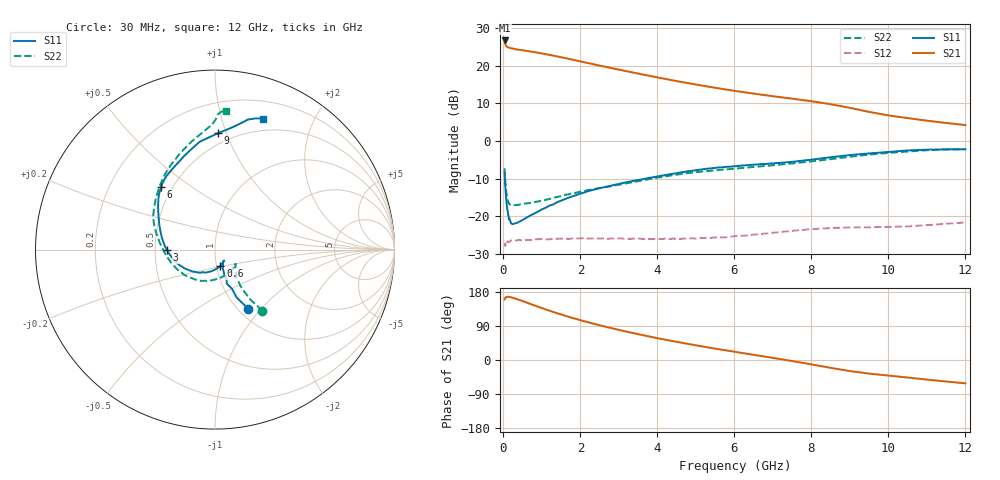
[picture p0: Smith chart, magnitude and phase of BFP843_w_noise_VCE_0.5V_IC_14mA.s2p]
! Infineon Technologies  Discrete & RF Semiconductors
! BFP843
! VCE =  0.5 V,  IC =  14 mA
! Common Emitter S-Parameters:  Aug 2013
# GHz  S  MA  R  50
!  f  S11  S21  S12  S22
! GHz  MAG  ANG  MAG  ANG  MAG  ANG  MAG  ANG
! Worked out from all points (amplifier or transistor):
!   103 points, 30 MHz to 12 GHz, reference 50 ohm
!   highest |S21| = 26.7 dB at 30 MHz (marker M1)
!   |S21| within 3 dB of that: start of sweep to 741.4 MHz
!   unconditionally stable (mu >= 1): 124.9 MHz to 11.81 GHz
!   at 400 MHz: K = 1.01, MAG = 24.6 dB, |S12| = -26.3 dB
!   at 3.7 GHz: K = 1.27, MAG = 18.7 dB, |S12| = -26.0 dB
!   at 12 GHz: K = 0.98, MSG = 13.0 dB, |S12| = -21.7 dB
!   lowest NFmin = 0.95 dB at 450 MHz
!   S11 on the Smith chart (normalised r, x): 30 MHz: 1.11, -0.85; 600 MHz: 1.04, -0.19; 3 GHz: 0.58, -0.00; 6 GHz: 0.44, +0.39; 9 GHz: 0.42, +0.93; 12 GHz: 0.38, +1.36
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0.03  0.3762 -60.8  21.68 160.3  0.0398 27.4  0.4305 -52.2
0.04  0.293 -65.7  20.12 161.6  0.0425 21.3  0.3421 -54.7
0.05  0.2396 -66.5  19.28 164.2  0.0401 18.7  0.283 -55.2
0.07  0.1729 -68.2  18.24 165.8  0.045 12.4  0.2152 -53.4
0.13  0.1021 -63.8  17.52 167.1  0.0451 7.4  0.1497 -42.4
0.6  0.0953 -71.6  15.77 151.7  0.0482 2.5  0.1476 -52.4
0.9  0.1151 -93.2  14.88 140.5  0.0494 2.0  0.1563 -73.6
1.3  0.1436 -118.5  13.62 126.5  0.0497 1.2  0.175 -99.0
1.7  0.1764 -136.9  12.33 113.8  0.0496 -0.1  0.1949 -119.8
2.1  0.206 -152.1  11.12 102.2  0.0512 -0.6  0.2155 -137.0
2.5  0.235 -165.4  10.04 91.6  0.0501 -1.3  0.2368 -151.9
3  0.2669 -179.6  8.862 79.4  0.0507 -2.2  0.2613 -167.4
3.5  0.3018 168.0  7.859 68.2  0.0505 -2.7  0.2914 179.3
4.1  0.3442 154.7  6.835 55.6  0.0495 -2.9  0.3307 166.5
5  0.4082 140.9  5.625 38.7  0.05 -1.3  0.3842 153.4
6  0.4603 130.6  4.639 21.9  0.0539 0.5  0.4272 141.2
6.1  0.4649 129.8  4.559 20.1  0.0543 0.8  0.4318 140.0
7.3  0.5171 115.4  3.758 0.6  0.0623 -0.9  0.4905 126.2
8.5  0.6065 98.2  3.075 -20.7  0.0694 -7.1  0.5719 109.7
9  0.6478 88.7  2.755 -29.2  0.0706 -10.3  0.6161 102.2
10.5  0.7474 75.8  2.012 -46.3  0.0728 -15.4  0.7222 89.8
12  0.7738 69.8  1.626 -61.6  0.0822 -20.7  0.7771 85.4
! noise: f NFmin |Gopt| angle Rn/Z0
0.45  0.95  0.05  -171  0.02
0.9  0.96  0.05  -164  0.05
1.5  0.98  0.05  -156  0.11
1.9  1  0.05  -146  0.18
2.4  1.03  0.05  -137  0.25
3.5  1.08  0.04  -114  0.28
5.5  1.2  0.2  -116  0.35
10  1.79  0.5  -64  0.47
